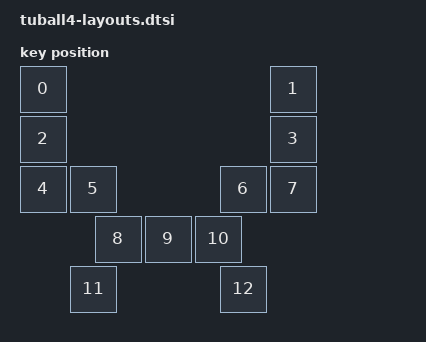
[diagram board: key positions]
#include <physical_layouts.dtsi>

/ {
    physical_layout0: physical_layout_0 {
        compatible = "zmk,physical-layout";
        transform = <&default_transform>;
        display-name = "Base";
        keys  //                     w   h    x    y     rot    rx    ry
            = <&key_physical_attrs 100 100   50    0       0     0     0>
            , <&key_physical_attrs 100 100  550    0       0     0     0>
            , <&key_physical_attrs 100 100   50  100       0     0     0>
            , <&key_physical_attrs 100 100  550  100       0     0     0>
            , <&key_physical_attrs 100 100   50  200       0     0     0>
            , <&key_physical_attrs 100 100  150  200       0     0     0>
            , <&key_physical_attrs 100 100  450  200       0     0     0>
            , <&key_physical_attrs 100 100  550  200       0     0     0>

            , <&key_physical_attrs 100 100  200  300       0     0     0>
            , <&key_physical_attrs 100 100  300  300       0     0     0>
            , <&key_physical_attrs 100 100  400  300       0     0     0>
            , <&key_physical_attrs 100 100  150  400       0     0     0>
            , <&key_physical_attrs 100 100  450  400       0     0     0>
           ;
    };
};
